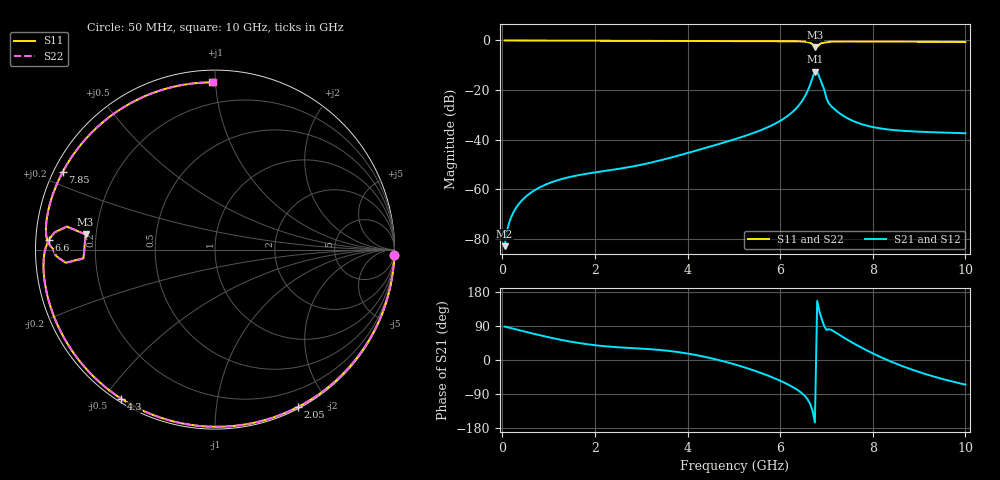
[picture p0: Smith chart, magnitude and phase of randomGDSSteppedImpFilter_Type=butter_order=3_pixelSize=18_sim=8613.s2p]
! freq	dB(S11)	phase(S11)	dB(S12)	phase(S12)
!  dB(S21)	phase(S21)	dB(S22)	phase(S22)
!S-par simulation data
#  GHz  S  DB  R 50
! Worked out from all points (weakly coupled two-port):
!   200 points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, 50 MHz to 10 GHz, reference 50 ohm
!   highest |S21| = -12.53 dB at 6.75 GHz (marker M1); lowest = -82.8 dB at 50 MHz (marker M2)
!   lowest |S11| = -2.8 dB at 6.75 GHz (marker M3), VSWR 6.31, Z = 7.95 + j2.84 ohm
!   |S11| at or under -10 dB: nowhere
!   |S22| runs from -2.8 to 0.0 dB; largest |S21 - S12| = 0
!   S11 on the Smith chart (normalised r, x): 50 MHz: 0, -72; 2.05 GHz: 0.02, -1.66; 4.3 GHz: 0.01, -0.55; 6.6 GHz: 0.04, +0.03; 7.85 GHz: 0.03, +0.24; 10 GHz: 0.07, +0.98
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0.05  -0.00 -1.6  -82.85 88.1  -82.85 88.1  -0.00 -1.6
0.25  -0.01 -7.9  -68.91 82.2  -68.91 82.2  -0.01 -7.9
0.55  -0.02 -17.2  -62.25 73.0  -62.25 73.0  -0.02 -17.2
1.05  -0.04 -32.6  -57.20 58.8  -57.20 58.8  -0.04 -32.6
1.75  -0.07 -53.5  -53.90 43.0  -53.90 43.0  -0.07 -53.5
2.05  -0.08 -62.2  -53.00 38.3  -53.00 38.3  -0.08 -62.2
3.4  -0.12 -99.1  -48.34 26.5  -48.34 26.5  -0.12 -99.1
4.3  -0.16 -122.1  -43.75 10.2  -43.75 10.2  -0.16 -122.1
5.05  -0.20 -140.5  -39.60 -12.7  -39.60 -12.7  -0.20 -140.6
6.1  -0.29 -166.8  -31.21 -60.4  -31.21 -60.4  -0.29 -166.8
6.4  -0.37 -175.4  -26.21 -81.2  -26.21 -81.2  -0.37 -175.4
6.6  -0.65 176.7  -20.05 -105.3  -20.05 -105.3  -0.65 176.7
6.7  -1.56 171.2  -14.93 -134.5  -14.93 -134.5  -1.56 171.1
6.75  -2.78 173.3  -12.53 -164.9  -12.53 -164.9  -2.79 173.3
6.85  -1.57 -175.0  -14.92 126.9  -14.92 126.9  -1.57 -174.9
7  -0.78 178.9  -23.24 79.4  -23.24 79.4  -0.75 178.9
7.1  -0.50 175.0  -26.38 79.8  -26.38 79.8  -0.49 174.9
7.45  -0.41 164.0  -31.30 53.6  -31.30 53.6  -0.41 164.0
7.85  -0.42 153.1  -34.20 26.7  -34.20 26.7  -0.42 153.0
8.35  -0.46 139.4  -35.88 -2.0  -35.88 -2.0  -0.46 139.4
9.25  -0.54 113.7  -36.93 -41.3  -36.93 -41.3  -0.54 113.7
10  -0.61 90.9  -37.38 -64.9  -37.38 -64.9  -0.62 90.8
